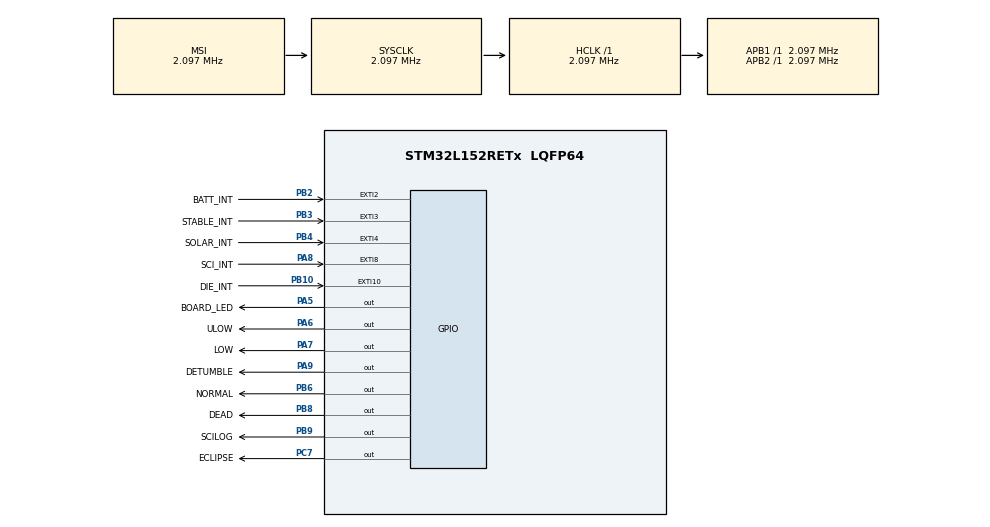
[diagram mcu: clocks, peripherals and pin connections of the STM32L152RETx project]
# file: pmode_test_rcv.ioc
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Mcu.Family=STM32L1
Mcu.Name=STM32L152RETx
Mcu.Package=LQFP64
NVIC.EXTI15_10_IRQn=true\:0\:0\:false\:false\:true\:true
NVIC.EXTI2_IRQn=true\:0\:0\:false\:false\:true\:true
NVIC.EXTI3_IRQn=true\:0\:0\:false\:false\:true\:true
NVIC.EXTI4_IRQn=true\:0\:0\:false\:false\:true\:true
NVIC.EXTI9_5_IRQn=true\:0\:0\:false\:false\:true\:true
NVIC.PriorityGroup=NVIC_PRIORITYGROUP_4
PA5.GPIO_Label=BOARD_LED
PA5.Signal=GPIO_Output
PA6.GPIO_Label=ULOW
PA6.Signal=GPIO_Output
PA7.GPIO_Label=LOW
PA7.Signal=GPIO_Output
PA8.GPIO_Label=SCI_INT
PA8.Signal=GPXTI8
PA9.GPIO_Label=DETUMBLE
PA9.Signal=GPIO_Output
PB10.GPIO_Label=DIE_INT
PB10.Signal=GPXTI10
PB2.GPIO_Label=BATT_INT
PB2.Signal=GPXTI2
PB3.GPIO_Label=STABLE_INT
PB3.Signal=GPXTI3
PB4.GPIO_Label=SOLAR_INT
PB4.Signal=GPXTI4
PB6.GPIO_Label=NORMAL
PB6.Signal=GPIO_Output
PB8.GPIO_Label=DEAD
PB8.Signal=GPIO_Output
PB9.GPIO_Label=SCILOG
PB9.Signal=GPIO_Output
PC7.GPIO_Label=ECLIPSE
PC7.Signal=GPIO_Output
ProjectManager.HeapSize=0x200
ProjectManager.StackSize=0x400
ProjectManager.TargetToolchain=MDK-ARM V5
RCC.AHBFreq_Value=2097000
RCC.APB1Freq_Value=2097000
RCC.APB2Freq_Value=2097000
RCC.HSE_VALUE=24000000
RCC.HSI_VALUE=16000000
RCC.LSE_VALUE=32768
RCC.MSI_VALUE=2097000
RCC.SYSCLKFreq_VALUE=2097000
RCC.VCOOutputFreq_Value=48000000
board=custom

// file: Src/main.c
/* USER CODE BEGIN Header */
/**
  ******************************************************************************
  * @file           : main.c
  * @brief          : Main program body
  ******************************************************************************
  ** This notice applies to any and all portions of this file
  * that are not between comment pairs USER CODE BEGIN and
  * USER CODE END. Other portions of this file, whether
  * inserted by the user or by software development tools
  * are owned by their respective copyright owners.
  *
  * COPYRIGHT(c) 2019 STMicroelectronics
  *
  * Redistribution and use in source and binary forms, with or without modification,
  * are permitted provided that the following conditions are met:
  *   1. Redistributions of source code must retain the above copyright notice,
  *      this list of conditions and the following disclaimer.
  *   2. Redistributions in binary form must reproduce the above copyright notice,
  *      this list of conditions and the following disclaimer in the documentation
  *      and/or other materials provided with the distribution.
  *   3. Neither the name of STMicroelectronics nor the names of its contributors
  *      may be used to endorse or promote products derived from this software
  *      without specific prior written permission.
  *
  * THIS SOFTWARE IS PROVIDED BY THE COPYRIGHT HOLDERS AND CONTRIBUTORS "AS IS"
  * AND ANY EXPRESS OR IMPLIED WARRANTIES, INCLUDING, BUT NOT LIMITED TO, THE
  * IMPLIED WARRANTIES OF MERCHANTABILITY AND FITNESS FOR A PARTICULAR PURPOSE ARE
  * DISCLAIMED. IN NO EVENT SHALL THE COPYRIGHT HOLDER OR CONTRIBUTORS BE LIABLE
  * FOR ANY DIRECT, INDIRECT, INCIDENTAL, SPECIAL, EXEMPLARY, OR CONSEQUENTIAL
  * DAMAGES (INCLUDING, BUT NOT LIMITED TO, PROCUREMENT OF SUBSTITUTE GOODS OR
  * SERVICES; LOSS OF USE, DATA, OR PROFITS; OR BUSINESS INTERRUPTION) HOWEVER
  * CAUSED AND ON ANY THEORY OF LIABILITY, WHETHER IN CONTRACT, STRICT LIABILITY,
  * OR TORT (INCLUDING NEGLIGENCE OR OTHERWISE) ARISING IN ANY WAY OUT OF THE USE
  * OF THIS SOFTWARE, EVEN IF ADVISED OF THE POSSIBILITY OF SUCH DAMAGE.
  *
  ******************************************************************************
  */
/* USER CODE END Header */

#include "main.h"

/* USER CODE BEGIN Includes */
#include "PowerModes.h"
/* USER CODE END Includes */

/* USER CODE BEGIN PD */
#define DEBUG (0)
/* USER CODE END PD */

/* USER CODE BEGIN PV */
uint16_t globalIntterupt = 0;
States globalState = Detumble;
volatile States state;
/* USER CODE END PV */

void SystemClock_Config(void);
static void MX_GPIO_Init(void);

int main(void)
{

  /* MCU Configuration--------------------------------------------------------*/

  /* Reset of all peripherals, Initializes the Flash interface and the Systick. */
  HAL_Init();

  /* Configure the system clock */
  SystemClock_Config();

  /* Initialize all configured peripherals */
  MX_GPIO_Init();
  /* USER CODE BEGIN 2 */

	/* Initialize Variables */
	system_function functions;

	/* Initialize the starting state of each of the systems that need power */
	Initialize_Functions(&functions);

	/* Set Initial state */
	state = Detumble;
  /* USER CODE END 2 */

  /* Infinite loop */
  /* USER CODE BEGIN WHILE */
	volatile int tmp;
  while (1)
  {
	/* Enter the state machine */
		while(1)
		{
			globalState = state;
			switch (state)
			{
				/* In Detumble mode */
				case (Detumble):
					//if (DEBUG) printf("\nEntering Detumble mode\n");
					Set_PowerModes(&functions, Detumble);
					//Print_System_Settings(&functions);	// Used for testing and debugging
					// Set the pins high for each rail that should be one here //
					state = Transition(Detumble);
					tmp = state == Detumble ? GPIO_PIN_SET : GPIO_PIN_RESET;
					HAL_GPIO_WritePin(GPIOA, DETUMBLE_Pin, tmp);
					break;
				/* In Kill mode */
				case (Kill):
					//if (DEBUG) printf("\nEntering Kill mode\n");
					Set_PowerModes(&functions, Kill);
					//Print_System_Settings(&functions);	// Used for testing and debugging
					// Set the pins high for each rail that should be one here //
					state = Transition(Kill);
					tmp = state == Kill ? GPIO_PIN_SET : GPIO_PIN_RESET;
					HAL_GPIO_WritePin(GPIOB, DEAD_Pin, tmp);
					break;
				/* In Normal mode */
				case (Normal):
					//if (DEBUG) printf("\nEntering Normal mode\n");
					Set_PowerModes(&functions, Normal);
					//Print_System_Settings(&functions);	// Used for testing and debugging
					// Set the pins high for each rail that should be one here //
					state = Transition(Normal);
					tmp = state == Normal ? GPIO_PIN_SET : GPIO_PIN_RESET;
					HAL_GPIO_WritePin(GPIOB, NORMAL_Pin, tmp);
					break;
				/* In UltraLowPower mode */
				case (UltraLowPower):
					//if (DEBUG) printf("\nEntering UltraLowPower mode\n");
					Set_PowerModes(&functions, UltraLowPower);
					//Print_System_Settings(&functions);	// Used for testing and debugging
					// Set the pins high for each rail that should be one here //
					state = Transition(UltraLowPower);
					tmp = state == UltraLowPower ? GPIO_PIN_SET : GPIO_PIN_RESET;
					HAL_GPIO_WritePin(GPIOA, ULOW_Pin, tmp);
					break;
				/* In LowPower mode */
				case (LowPower):
					//if (DEBUG) printf("\nEntering LowPower mode\n");
					Set_PowerModes(&functions, LowPower);
					//Print_System_Settings(&functions);	// Used for testing and debugging
					// Set the pins high for each rail that should be one here //
					state = Transition(LowPower);
					tmp = state == LowPower ? GPIO_PIN_SET : GPIO_PIN_RESET;
					HAL_GPIO_WritePin(GPIOA, LOW_Pin, tmp);
					break;
				/* In Eclipse mode */
				case (Eclipse):
					//if (DEBUG) printf("\nEntering Eclipse mode\n");
					Set_PowerModes(&functions, Eclipse);
					//Print_System_Settings(&functions);	// Used for testing and debugging
					// Set the pins high for each rail that should be one here //
					state = Transition(Eclipse);
					tmp = state == Eclipse ? GPIO_PIN_SET : GPIO_PIN_RESET;
					HAL_GPIO_WritePin(GPIOC, ECLIPSE_Pin, tmp);
					break;
				/* In ScienceOnly mode */
				case (ScienceOnly):
					//if (DEBUG) printf("\nEntering ScienceOnly mode\n");
					Set_PowerModes(&functions, ScienceOnly);
					//Print_System_Settings(&functions);	// Used for testing and debugging
					// Set the pins high for each rail that should be one here //
					state = Transition(ScienceOnly);
					tmp = state == ScienceOnly ? GPIO_PIN_SET : GPIO_PIN_RESET;
					HAL_GPIO_WritePin(GPIOB, SCILOG_Pin, tmp);
					break;
				/* An error occurred */
				default:
					state = 255; // Error
					//fprintf(stderr, "\nInvalid state in the state machine reached...\nExiting\n");
					continue;
			}
		}

    /* USER CODE END WHILE */

  }
}

void SystemClock_Config(void)
{
  RCC_OscInitTypeDef RCC_OscInitStruct = {0};
  RCC_ClkInitTypeDef RCC_ClkInitStruct = {0};

  /**Configure the main internal regulator output voltage
  */
  __HAL_PWR_VOLTAGESCALING_CONFIG(PWR_REGULATOR_VOLTAGE_SCALE1);
  /**Initializes the CPU, AHB and APB busses clocks
  */
  RCC_OscInitStruct.OscillatorType = RCC_OSCILLATORTYPE_MSI;
  RCC_OscInitStruct.MSIState = RCC_MSI_ON;
  RCC_OscInitStruct.MSICalibrationValue = 0;
  RCC_OscInitStruct.MSIClockRange = RCC_MSIRANGE_5;
  RCC_OscInitStruct.PLL.PLLState = RCC_PLL_NONE;
  if (HAL_RCC_OscConfig(&RCC_OscInitStruct) != HAL_OK)
  {
    Error_Handler();
  }
  /**Initializes the CPU, AHB and APB busses clocks
  */
  RCC_ClkInitStruct.ClockType = RCC_CLOCKTYPE_HCLK|RCC_CLOCKTYPE_SYSCLK
                              |RCC_CLOCKTYPE_PCLK1|RCC_CLOCKTYPE_PCLK2;
  RCC_ClkInitStruct.SYSCLKSource = RCC_SYSCLKSOURCE_MSI;
  RCC_ClkInitStruct.AHBCLKDivider = RCC_SYSCLK_DIV1;
  RCC_ClkInitStruct.APB1CLKDivider = RCC_HCLK_DIV1;
  RCC_ClkInitStruct.APB2CLKDivider = RCC_HCLK_DIV1;

  if (HAL_RCC_ClockConfig(&RCC_ClkInitStruct, FLASH_LATENCY_0) != HAL_OK)
  {
    Error_Handler();
  }
}

static void MX_GPIO_Init(void)
{
  GPIO_InitTypeDef GPIO_InitStruct = {0};

  /* GPIO Ports Clock Enable */
  __HAL_RCC_GPIOA_CLK_ENABLE();
  __HAL_RCC_GPIOB_CLK_ENABLE();
  __HAL_RCC_GPIOC_CLK_ENABLE();

  /*Configure GPIO pin Output Level */
  HAL_GPIO_WritePin(GPIOA, BOARD_LED_Pin|ULOW_Pin|LOW_Pin|DETUMBLE_Pin, GPIO_PIN_RESET);

  /*Configure GPIO pin Output Level */
  HAL_GPIO_WritePin(ECLIPSE_GPIO_Port, ECLIPSE_Pin, GPIO_PIN_RESET);

  /*Configure GPIO pin Output Level */
  HAL_GPIO_WritePin(GPIOB, NORMAL_Pin|DEAD_Pin|SCILOG_Pin, GPIO_PIN_RESET);

  /*Configure GPIO pins : BOARD_LED_Pin ULOW_Pin LOW_Pin DETUMBLE_Pin */
  GPIO_InitStruct.Pin = BOARD_LED_Pin|ULOW_Pin|LOW_Pin|DETUMBLE_Pin;
  GPIO_InitStruct.Mode = GPIO_MODE_OUTPUT_PP;
  GPIO_InitStruct.Pull = GPIO_NOPULL;
  GPIO_InitStruct.Speed = GPIO_SPEED_FREQ_LOW;
  HAL_GPIO_Init(GPIOA, &GPIO_InitStruct);

  /*Configure GPIO pins : BATT_INT_Pin DIE_INT_Pin STABLE_INT_Pin SOLAR_INT_Pin */
  GPIO_InitStruct.Pin = BATT_INT_Pin|DIE_INT_Pin|STABLE_INT_Pin|SOLAR_INT_Pin;
  GPIO_InitStruct.Mode = GPIO_MODE_IT_RISING;
  GPIO_InitStruct.Pull = GPIO_NOPULL;
  HAL_GPIO_Init(GPIOB, &GPIO_InitStruct);

  /*Configure GPIO pin : ECLIPSE_Pin */
  GPIO_InitStruct.Pin = ECLIPSE_Pin;
  GPIO_InitStruct.Mode = GPIO_MODE_OUTPUT_PP;
  GPIO_InitStruct.Pull = GPIO_NOPULL;
  GPIO_InitStruct.Speed = GPIO_SPEED_FREQ_LOW;
  HAL_GPIO_Init(ECLIPSE_GPIO_Port, &GPIO_InitStruct);

  /*Configure GPIO pin : SCI_INT_Pin */
  GPIO_InitStruct.Pin = SCI_INT_Pin;
  GPIO_InitStruct.Mode = GPIO_MODE_IT_RISING;
  GPIO_InitStruct.Pull = GPIO_NOPULL;
  HAL_GPIO_Init(SCI_INT_GPIO_Port, &GPIO_InitStruct);

  /*Configure GPIO pins : NORMAL_Pin DEAD_Pin SCILOG_Pin */
  GPIO_InitStruct.Pin = NORMAL_Pin|DEAD_Pin|SCILOG_Pin;
  GPIO_InitStruct.Mode = GPIO_MODE_OUTPUT_PP;
  GPIO_InitStruct.Pull = GPIO_NOPULL;
  GPIO_InitStruct.Speed = GPIO_SPEED_FREQ_LOW;
  HAL_GPIO_Init(GPIOB, &GPIO_InitStruct);

  /* EXTI interrupt init*/
  HAL_NVIC_SetPriority(EXTI2_IRQn, 0, 0);
  HAL_NVIC_EnableIRQ(EXTI2_IRQn);

  HAL_NVIC_SetPriority(EXTI3_IRQn, 0, 0);
  HAL_NVIC_EnableIRQ(EXTI3_IRQn);

  HAL_NVIC_SetPriority(EXTI4_IRQn, 0, 0);
  HAL_NVIC_EnableIRQ(EXTI4_IRQn);

  HAL_NVIC_SetPriority(EXTI9_5_IRQn, 0, 0);
  HAL_NVIC_EnableIRQ(EXTI9_5_IRQn);

  HAL_NVIC_SetPriority(EXTI15_10_IRQn, 0, 0);
  HAL_NVIC_EnableIRQ(EXTI15_10_IRQn);

}

/* USER CODE BEGIN 4 */

void HAL_GPIO_EXTI_Callback(uint16_t GPIO_PIN)
	{
		//HAL_GPIO_TogglePin(GPIOA , GPIO_PIN_5);
		if (GPIO_PIN == STABLE_INT_Pin)
		{
			change_variables(STABLE);
			globalIntterupt = STABLE_INT_Pin;
			//HAL_GPIO_TogglePin(GPIOA , GPIO_PIN_5);
		}
		else if (GPIO_PIN == SCI_INT_Pin)
		{
			change_variables(SCI_EVENT);
			globalIntterupt = SCI_INT_Pin;
			//HAL_GPIO_TogglePin(GPIOA , GPIO_PIN_5);
		}
		else if (GPIO_PIN == DIE_INT_Pin)
		{
			change_variables(DIE);
			globalIntterupt = DIE_INT_Pin;
			HAL_GPIO_TogglePin(GPIOA , GPIO_PIN_5);
		}
		else if (GPIO_PIN == BATT_INT_Pin)
		{
			change_variables(BATT);
			globalIntterupt = BATT_INT_Pin;
			//HAL_GPIO_TogglePin(GPIOA , GPIO_PIN_5);
		}
		else if (GPIO_PIN == SOLAR_INT_Pin)
		{
			change_variables(SOLAR);
			globalIntterupt = SOLAR_INT_Pin;
			//HAL_GPIO_TogglePin(GPIOA , GPIO_PIN_5);
		}
		else
		{
			__NOP();
		}
	}

/* USER CODE END 4 */

void Error_Handler(void)
{
}

/************************ (C) COPYRIGHT STMicroelectronics *****END OF FILE****/
